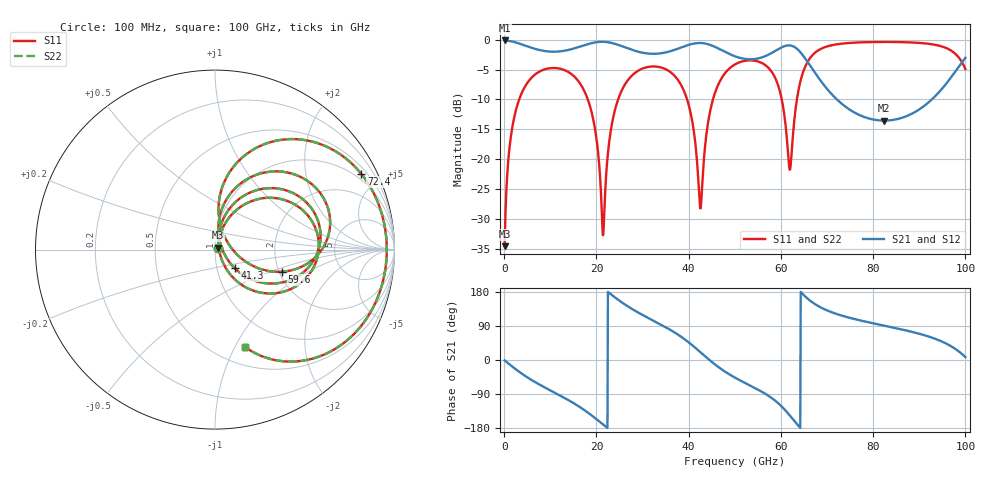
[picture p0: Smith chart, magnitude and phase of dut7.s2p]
! Touchstone file exported from HFSS 2026.1.0
!  File:  C:/ffzhzh/LocalFiles/Ansys_Project_Files/temp_train_TSV_RDL_7_1783612000_29156.aedt
!  Generated:  11:57:34 PM Jul  9, 2026
!  Design:  TSV_RDL
!  Project:  temp_train_TSV_RDL_7_1783612000_29156
! Variables:
!  h_bsmrdl = 4.43um
!  h_ox = 20um
!  h_rdl = 5um
!  h_sub = 51.93um
!  h_tmrdl = 3.8um
!  h_tsv = 51.93um
!  h_via = 3um
!  l_bsmrdl = 199.29um
!  l_sub = 2756.96um
!  l_tmrdl = 411.64um
!  m_sub = 200um
!  pitch = 50.63um
!  r_tsv = 11.53um
!  s_tmrdl = 10um
!  w_bsmrdl = 24.77um
!  w_sub = 500um
!  w_tmrdl = 12.74um
!  x_tsv_center1 = 418.01um
!  x_tsv_center2 = 642.07um
!  x_tsv_center3 = 1066.45um
!  x_tsv_center4 = 1290.51um
!  x_tsv_center5 = 1714.89um
!  x_tsv_center6 = 1938.95um
# GHz S MA R 50.000000
! Terminal data exported
! Port[1] = TM_RDL1_1_T1
! Port[2] = TM_RDL5_1_T1
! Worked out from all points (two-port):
!   1000 points, 100 MHz to 100 GHz, reference 50 ohm
!   highest |S21| = -0.13 dB at 100 MHz (marker M1); lowest = -13.5 dB at 82.4 GHz (marker M2)
!   |S21| within 3 dB of the highest: start of sweep to 51.59 GHz; 55.11 GHz to 65.26 GHz (10.15 GHz wide, 16.9 % of centre) (the widest 2 of 3)
!   lowest |S11| = -34.6 dB at 100 MHz (marker M3), VSWR 1.04, Z = 51.5 + j1.14 ohm
!   |S11| at or under -10 dB: 18.13 GHz to 24.72 GHz (6.582 GHz wide, 30.7 % of centre); 39.66 GHz to 45.28 GHz (5.619 GHz wide, 13.2 % of centre); 60.19 GHz to 63.47 GHz (3.283 GHz wide, 5.31 % of centre) (the widest 3 of 4)
!   |S22| runs from -34.6 to -0.4 dB; largest |S21 - S12| = 1.6e-14
!   S11 on the Smith chart (normalised r, x): 100 MHz: 1.03, +0.02; 41.3 GHz: 1.22, -0.26; 59.6 GHz: 2.06, -0.60; 72.4 GHz: 0.74, +3.99; 100 GHz: 0.69, -1.10
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0.1  0.01868 36.2  0.9851 -1.0  0.9851 -1.0  0.01868 36.2
! Gamma 0 0 0 0
! Port Impedance 50 0 50 0
1.6  0.1684 68.0  0.9677 -15.8  0.9677 -15.8  0.1684 68.0
4.4  0.3974 46.3  0.8967 -40.8  0.8967 -40.8  0.3974 46.3
10.7  0.5794 4.0  0.7931 -84.6  0.7931 -84.6  0.5794 4.0
16.8  0.4097 -36.5  0.8841 -127.3  0.8841 -127.3  0.4097 -36.5
19.6  0.1885 -57.0  0.9468 -152.1  0.9468 -152.1  0.1885 -57.0
21.5  0.02337 22.8  0.9599 -170.6  0.9599 -170.6  0.0235 22.8
25  0.3386 62.0  0.8971 156.4  0.8971 156.4  0.3386 62.0
33.4  0.5922 6.8  0.7646 97.2  0.7646 97.2  0.5922 6.8
41.3  0.1521 -43.4  0.9306 33.7  0.9306 33.7  0.1522 -43.3
42.6  0.03878 28.1  0.9381 20.1  0.9381 20.1  0.03905 28.0
45.2  0.3084 75.7  0.8877 -6.9  0.8877 -6.9  0.3084 75.6
50.1  0.6224 41.0  0.7247 -46.9  0.7247 -46.9  0.6224 40.9
59.6  0.3916 -18.4  0.8395 -116.1  0.8395 -116.1  0.3915 -18.4
62  0.08202 38.1  0.8947 -147.4  0.8947 -147.4  0.08142 38.1
64  0.4097 80.8  0.8026 -176.4  0.8026 -176.4  0.4096 80.9
66.7  0.7324 57.1  0.5783 153.2  0.5783 153.2  0.7324 57.1
72.4  0.918 27.3  0.3094 120.2  0.3094 120.2  0.918 27.3
82.4  0.9572 0.2  0.2102 90.7  0.2102 90.7  0.9572 0.2
83.4  0.957 -2.1  0.211 88.1  0.211 88.1  0.957 -2.1
93.4  0.9063 -31.2  0.3349 56.2  0.3349 56.2  0.9064 -31.1
100  0.5681 -72.8  0.7046 7.7  0.7046 7.7  0.5685 -72.7
